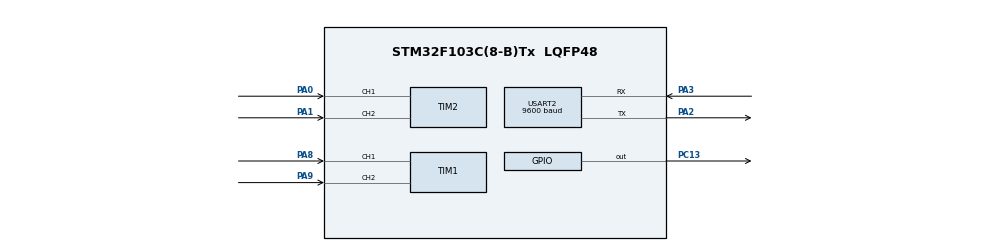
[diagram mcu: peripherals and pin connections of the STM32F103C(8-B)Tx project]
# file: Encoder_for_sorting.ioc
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Mcu.Family=STM32F1
Mcu.Name=STM32F103C(8-B)Tx
Mcu.Package=LQFP48
NVIC.PriorityGroup=NVIC_PRIORITYGROUP_4
PA0-WKUP.Signal=S_TIM2_CH1_ETR
PA1.Signal=S_TIM2_CH2
PA13.Mode=Serial_Wire
PA13.Signal=SYS_JTMS-SWDIO
PA14.Mode=Serial_Wire
PA14.Signal=SYS_JTCK-SWCLK
PA2.Mode=Asynchronous
PA2.Signal=USART2_TX
PA3.Mode=Asynchronous
PA3.Signal=USART2_RX
PA8.GPIO_PuPd=GPIO_PULLUP
PA8.Signal=S_TIM1_CH1
PA9.GPIO_PuPd=GPIO_PULLUP
PA9.Signal=S_TIM1_CH2
PC13-TAMPER-RTC.GPIO_PuPd=GPIO_PULLDOWN
PC13-TAMPER-RTC.GPIO_Speed=GPIO_SPEED_FREQ_LOW
PC13-TAMPER-RTC.PinState=GPIO_PIN_RESET
PC13-TAMPER-RTC.Signal=GPIO_Output
PD0-OSC_IN.Mode=HSE-External-Oscillator
PD0-OSC_IN.Signal=RCC_OSC_IN
PD1-OSC_OUT.Mode=HSE-External-Oscillator
PD1-OSC_OUT.Signal=RCC_OSC_OUT
ProjectManager.HeapSize=0x200
ProjectManager.StackSize=0x400
ProjectManager.TargetToolchain=STM32CubeIDE
RCC.AHBFreq_Value=72000000
RCC.APB1CLKDivider=RCC_HCLK_DIV2
RCC.APB1Freq_Value=36000000
RCC.APB1TimFreq_Value=72000000
RCC.APB2Freq_Value=72000000
RCC.APB2TimFreq_Value=72000000
RCC.HCLKFreq_Value=72000000
RCC.HSEDivPLL=RCC_HSE_PREDIV_DIV2
RCC.HSE_VALUE=16000000
RCC.PLLMUL=RCC_PLL_MUL9
RCC.PLLSourceVirtual=RCC_PLLSOURCE_HSE
RCC.SYSCLKFreq_VALUE=72000000
RCC.SYSCLKSource=RCC_SYSCLKSOURCE_PLLCLK
RCC.USBFreq_Value=72000000
SH.S_TIM1_CH1.0=TIM1_CH1,Encoder_Interface
SH.S_TIM1_CH2.0=TIM1_CH2,Encoder_Interface
SH.S_TIM2_CH1_ETR.0=TIM2_CH1,Encoder_Interface
SH.S_TIM2_CH2.0=TIM2_CH2,Encoder_Interface
TIM1.IC2Filter=15
USART2.BaudRate=9600
USART2.VirtualMode=VM_ASYNC
board=custom

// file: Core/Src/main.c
/* USER CODE BEGIN Header */
/**
  ******************************************************************************
  * @file           : main.c
  * @brief          : Main program body
  ******************************************************************************
  * @attention
  *
  * Copyright (c) 2023 STMicroelectronics.
  * All rights reserved.
  *
  * This software is licensed under terms that can be found in the LICENSE file
  * in the root directory of this software component.
  * If no LICENSE file comes with this software, it is provided AS-IS.
  *
  ******************************************************************************
  */
/* USER CODE END Header */
#include "main.h"
#include "tim.h"
#include "usart.h"
#include "gpio.h"

void SystemClock_Config(void);

int main(void)
{
  /* USER CODE BEGIN 1 */
	 uint32_t encoder = 2e9;
  /* USER CODE END 1 */

  /* MCU Configuration--------------------------------------------------------*/

  /* Reset of all peripherals, Initializes the Flash interface and the Systick. */
  HAL_Init();

  /* Configure the system clock */
  SystemClock_Config();

  /* USER CODE BEGIN SysInit */

    USART2->CR1 |= USART_CR1_TE | USART_CR1_RE ; // разрешаем приемник и передатчик

  /* USER CODE END SysInit */

  /* Initialize all configured peripherals */
  MX_GPIO_Init();
  MX_TIM1_Init();
  MX_USART2_UART_Init();
  MX_TIM2_Init();
  /* USER CODE BEGIN 2 */
  TIM1->CR1 |= (1<<0);
  /* USER CODE END 2 */

  /* Infinite loop */
  /* USER CODE BEGIN WHILE */
  while (1)
  {
	//  encoder = LL_TIM_GetCounter(TIM1);
	//  LL_GPIO_TogglePin(GPIOC, LL_GPIO_PIN_13);
//	 LL_mDelay(200);

	  while ((USART2->SR & USART_SR_RXNE) == 0) {} // Ждем пустого регистра

	  char d = USART2->DR;
	  if (d  == 'I'){
		  encoder = LL_TIM_GetCounter(TIM1) + 2e9;
		  GPIOC->ODR |= 1<<13;
	  // отослать данное назад
		  while ((USART2->SR & USART_SR_TXE) == 0) {} // Ждем пустого регистра
		  USART2->DR = encoder & 0xFF;
		  while ((USART2->SR & USART_SR_TXE) == 0) {} // Ждем пустого регистра
		  USART2->DR = (encoder>>8) & 0xFF;
		  while ((USART2->SR & USART_SR_TXE) == 0) {} // Ждем пустого регистра
		  USART2->DR = (encoder>>16) & 0xFF;
		  while ((USART2->SR & USART_SR_TXE) == 0) {} // Ждем пустого регистра
		  USART2->DR = (encoder>>24) & 0xFF;
		  GPIOC->ODR &= ~(1<<13);
	  }

//	  while ((USART2->SR & USART_SR_TXE) == 0) {} // Ждем пустого регистра
//	  USART2->DR = 5;
//
//	  LL_mDelay(1000);
//
//	  while ((USART2->SR & USART_SR_TXE) == 0) {} // Ждем пустого регистра
//	  USART2->DR = 6;

    /* USER CODE END WHILE */

  }
}

void SystemClock_Config(void)
{
  LL_FLASH_SetLatency(LL_FLASH_LATENCY_2);
  while(LL_FLASH_GetLatency()!= LL_FLASH_LATENCY_2)
  {
  }
  LL_RCC_HSE_Enable();

   /* Wait till HSE is ready */
  while(LL_RCC_HSE_IsReady() != 1)
  {

  }
  LL_RCC_PLL_ConfigDomain_SYS(LL_RCC_PLLSOURCE_HSE_DIV_2, LL_RCC_PLL_MUL_9);
  LL_RCC_PLL_Enable();

   /* Wait till PLL is ready */
  while(LL_RCC_PLL_IsReady() != 1)
  {

  }
  LL_RCC_SetAHBPrescaler(LL_RCC_SYSCLK_DIV_1);
  LL_RCC_SetAPB1Prescaler(LL_RCC_APB1_DIV_2);
  LL_RCC_SetAPB2Prescaler(LL_RCC_APB2_DIV_1);
  LL_RCC_SetSysClkSource(LL_RCC_SYS_CLKSOURCE_PLL);

   /* Wait till System clock is ready */
  while(LL_RCC_GetSysClkSource() != LL_RCC_SYS_CLKSOURCE_STATUS_PLL)
  {

  }
  LL_SetSystemCoreClock(72000000);

   /* Update the time base */
  if (HAL_InitTick (TICK_INT_PRIORITY) != HAL_OK)
  {
    Error_Handler();
  }
}

void Error_Handler(void)
{
  __disable_irq();
  while (1)
  {
  }
}
